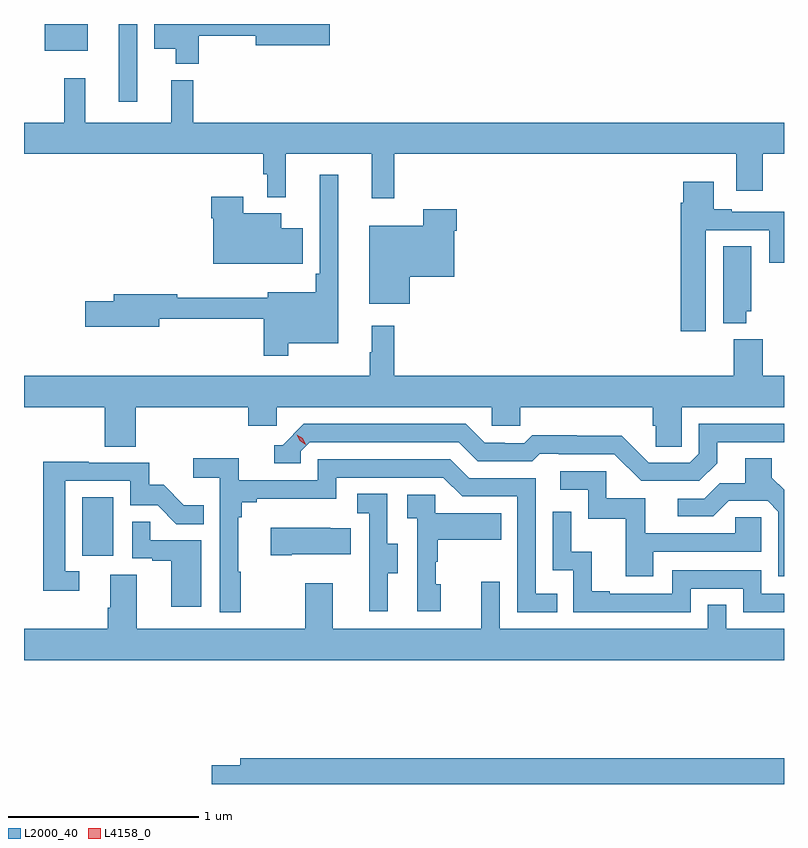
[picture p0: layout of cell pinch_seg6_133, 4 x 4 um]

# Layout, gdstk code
import gdstk
lib = gdstk.Library(unit=1e-6, precision=1e-09)
def R(c, l, rs):  # rectangles x0, y0, x1, y1
    for r in rs: c.add(gdstk.rectangle(r[:2], r[2:], *l))
def P(c, l, *ps):  # polygons
    for p in ps: c.add(gdstk.Polygon(p, *l))
L2000_40 = (2000, 40)
L4158_0 = (4158, 0)

pinch_seg6_133 = lib.new_cell('pinch_seg6_133')
R(pinch_seg6_133, L2000_40, [(986.054,926.574,986.218,926.881), (986.246,928.962,986.343,929.372), (985.856,929.231,986.083,929.372)])
P(pinch_seg6_133, L2000_40, [(986.668,929.31),(986.966,929.31),(986.966,929.26),(987.355,929.26),(987.355,929.372),(986.432,929.372),(986.432,929.243),(986.546,929.243),(986.546,929.162),(986.668,929.162)],
  [(987.695,928.688),(989.495,928.688),(989.495,928.494),(989.635,928.494),(989.635,928.688),(989.747,928.688),(989.747,928.852),(986.639,928.852),(986.639,929.077),(986.522,929.077),(986.522,928.852),(986.069,928.852),(986.069,929.086),(985.959,929.086),(985.959,928.852),(985.747,928.852),(985.747,928.688),(987.007,928.688),(987.007,928.581),(987.027,928.581),(987.027,928.46),(987.125,928.46),(987.125,928.688),(987.578,928.688),(987.578,928.455),(987.695,928.455)],
  [(987.139,927.692),(987.4,927.692),(987.4,928.579),(987.303,928.579),(987.303,928.057),(987.283,928.057),(987.283,927.961),(987.029,927.961),(987.029,927.931),(986.554,927.931),(986.554,927.95),(986.219,927.95),(986.219,927.914),(986.07,927.914),(986.07,927.779),(986.458,927.779),(986.458,927.822),(987.01,927.822),(987.01,927.627),(987.139,927.627)],
  [(989.335,928.287),(989.669,928.287),(989.669,928.116),(989.747,928.116),(989.747,928.383),(989.473,928.383),(989.473,928.396),(989.377,928.396),(989.377,928.543),(989.216,928.543),(989.216,928.43),(989.204,928.43),(989.204,927.756),(989.335,927.756)],
  [(987.214,928.297),(987.1,928.297),(987.1,928.375),(986.902,928.375),(986.902,928.462),(986.732,928.462),(986.732,928.349),(986.744,928.349),(986.744,928.109),(987.214,928.109)],
  [(987.778,928.043),(988.012,928.043),(988.012,928.283),(988.025,928.283),(988.025,928.396),(987.847,928.396),(987.847,928.309),(987.563,928.309),(987.563,927.899),(987.778,927.899)],
  [(989.548,927.861),(989.575,927.861),(989.575,928.202),(989.426,928.202),(989.426,927.797),(989.548,927.797)],
  [(986.336,927.356),(986.927,927.356),(986.927,927.258),(987.078,927.258),(987.078,927.356),(988.209,927.356),(988.209,927.258),(988.359,927.258),(988.359,927.356),(989.057,927.356),(989.057,927.258),(989.071,927.258),(989.071,927.148),(989.208,927.148),(989.208,927.356),(989.747,927.356),(989.747,927.52),(989.635,927.52),(989.635,927.712),(989.483,927.712),(989.483,927.52),(987.695,927.52),(987.695,927.784),(987.578,927.784),(987.578,927.644),(987.567,927.644),(987.567,927.52),(985.747,927.52),(985.747,927.356),(986.171,927.356),(986.171,927.148),(986.336,927.148)],
  [(989.395,927.061),(989.395,927.171),(989.747,927.171),(989.747,927.267),(989.298,927.267),(989.298,927.111),(989.25,927.063),(989.034,927.063),(988.892,927.205),(988.656,927.205),(988.656,927.208),(988.423,927.208),(988.381,927.165),(988.278,927.165),(988.278,927.168),(988.171,927.168),(988.072,927.267),(987.219,927.267),(987.108,927.156),(987.065,927.156),(987.065,927.06),(987.204,927.06),(987.204,927.123),(987.252,927.171),(988.035,927.171),(988.134,927.072),(988.423,927.072),(988.462,927.111),(988.561,927.111),(988.561,927.108),(988.854,927.108),(988.995,926.967),(989.301,926.967)],
  [(986.887,926.489),(986.875,926.489),(986.875,926.777),(986.894,926.777),(986.894,926.854),(986.971,926.854),(986.971,926.873),(987.39,926.873),(987.39,926.985),(987.954,926.985),(988.053,926.886),(988.344,926.886),(988.344,926.277),(988.553,926.277),(988.553,926.373),(988.44,926.373),(988.44,926.982),(988.09,926.982),(987.991,927.081),(987.294,927.081),(987.294,926.97),(986.876,926.97),(986.876,927.086),(986.637,927.086),(986.637,926.984),(986.778,926.984),(986.778,926.277),(986.887,926.277)],
  [(989.747,926.92),(989.683,926.984),(989.683,927.086),(989.543,927.086),(989.543,926.954),(989.408,926.954),(989.328,926.874),(989.187,926.874),(989.187,926.781),(989.374,926.781),(989.455,926.862),(989.661,926.862),(989.718,926.805),(989.718,926.466),(989.747,926.466)],
  [(986.038,926.493),(985.965,926.493),(985.965,926.967),(986.307,926.967),(986.307,926.838),(986.451,926.838),(986.549,926.74),(986.693,926.74),(986.693,926.839),(986.589,926.839),(986.482,926.946),(986.406,926.946),(986.406,927.063),(986.087,927.063),(986.087,927.068),(985.849,927.068),(985.849,926.388),(986.038,926.388)],
  [(989.059,926.595),(989.628,926.595),(989.628,926.775),(989.491,926.775),(989.491,926.691),(989.017,926.691),(989.017,926.877),(988.812,926.877),(988.812,927.018),(988.569,927.018),(988.569,926.922),(988.716,926.922),(988.716,926.769),(988.915,926.769),(988.915,926.466),(989.059,926.466)],
  [(987.661,926.482),(987.715,926.482),(987.715,926.637),(987.66,926.637),(987.66,926.9),(987.501,926.9),(987.501,926.797),(987.564,926.797),(987.564,926.493),(987.563,926.493),(987.563,926.28),(987.661,926.28)],
  [(987.94,926.424),(987.915,926.424),(987.915,926.543),(987.925,926.543),(987.925,926.657),(988.259,926.657),(988.259,926.797),(987.912,926.797),(987.912,926.895),(987.765,926.895),(987.765,926.771),(987.816,926.771),(987.816,926.28),(987.94,926.28)],
  [(989.256,926.4),(989.532,926.4),(989.532,926.277),(989.747,926.277),(989.747,926.373),(989.628,926.373),(989.628,926.496),(989.16,926.496),(989.16,926.373),(988.831,926.373),(988.831,926.386),(988.736,926.386),(988.736,926.594),(988.626,926.594),(988.626,926.806),(988.53,926.806),(988.53,926.496),(988.638,926.496),(988.638,926.277),(989.256,926.277)],
  [(986.68,926.655),(986.411,926.655),(986.411,926.753),(986.316,926.753),(986.316,926.559),(986.423,926.559),(986.423,926.547),(986.522,926.547),(986.522,926.304),(986.68,926.304)],
  [(987.157,926.582),(987.467,926.582),(987.467,926.719),(987.359,926.719),(987.359,926.722),(987.045,926.722),(987.045,926.575),(987.157,926.575)],
  [(989.747,926.188),(989.442,926.188),(989.442,926.315),(989.346,926.315),(989.346,926.188),(988.251,926.188),(988.251,926.437),(988.154,926.437),(988.154,926.188),(987.373,926.188),(987.373,926.428),(987.226,926.428),(987.226,926.188),(986.341,926.188),(986.341,926.474),(986.201,926.474),(986.201,926.3),(986.189,926.3),(986.189,926.188),(985.747,926.188),(985.747,926.024),(989.747,926.024)],
  [(989.747,925.508),(986.885,925.508),(986.885,925.472),(986.736,925.472),(986.736,925.372),(989.747,925.372)])
P(pinch_seg6_133, L4158_0, [(987.229,927.158),(987.199,927.178),(987.183,927.211),(987.183,927.211),(987.183,927.211),(987.214,927.191),(987.23,927.158),(987.23,927.158)])

lib.write_gds('pinch_seg6_133.gds')
